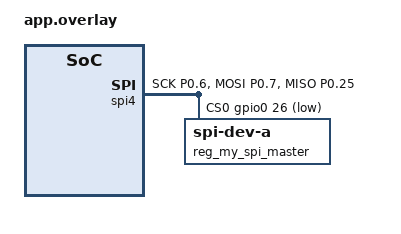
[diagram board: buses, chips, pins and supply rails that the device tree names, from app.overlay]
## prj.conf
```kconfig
#
# Copyright (c) 2018 Nordic Semiconductor
#
# SPDX-License-Identifier: LicenseRef-Nordic-5-Clause
#

# Enable the UART driver
CONFIG_UART_ASYNC_API=y
CONFIG_NRFX_UARTE0=y
CONFIG_SERIAL=y #to modif at n: origin y



# Make sure printk is printing to the UART console
CONFIG_CONSOLE=y
CONFIG_UART_CONSOLE=y

# Enable Power Management
CONFIG_PM=y
CONFIG_GPIO=y

CONFIG_SPI=y
CONFIG_SPI_ASYNC=y


CONFIG_HEAP_MEM_POOL_SIZE=2048

CONFIG_BT=y
CONFIG_BT_PERIPHERAL=y
CONFIG_BT_DEVICE_NAME="Nordic_UART_Service"
CONFIG_BT_DEVICE_APPEARANCE=833
CONFIG_BT_MAX_CONN=1
CONFIG_BT_MAX_PAIRED=1

# Enable the NUS service
CONFIG_BT_NUS=y

# Enable bonding
CONFIG_BT_SETTINGS=y
CONFIG_FLASH=y
CONFIG_FLASH_PAGE_LAYOUT=y
CONFIG_FLASH_MAP=y
CONFIG_NVS=y
CONFIG_SETTINGS=y

# Enable DK LED and Buttons library
CONFIG_DK_LIBRARY=y

# This example requires more workqueue stack
CONFIG_SYSTEM_WORKQUEUE_STACK_SIZE=2048

# Config logger
CONFIG_LOG=y #to modif at n: origin y
CONFIG_USE_SEGGER_RTT=y
CONFIG_LOG_BACKEND_RTT=y
CONFIG_LOG_BACKEND_UART=n
CONFIG_LOG_PRINTK=n

CONFIG_ASSERT=y
```

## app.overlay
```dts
/*
 * Copyright (c) 2022 Nordic Semiconductor ASA
 *
 * SPDX-License-Identifier: LicenseRef-Nordic-5-Clause
 */

/ {
	chosen {
		nordic,nus-uart = &uart0;
	};
};
/*
	can be used but was not working for me!
buttons {
	compatible = "gpio-keys";
	IRQ_DETECT: irq_detect {
		gpios = <&gpio0 5 (GPIO_PULL_DOWN|GPIO_ACTIVE_HIGH)>;
		label = "IRQ DETECT";
	};
};
aliases {
	swn = &IRQ_DETECT;
};
*/
&pinctrl {
	spi_master_default: spi_master_default {
		group1 {
			psels = <NRF_PSEL(SPIM_SCK, 0, 6)>,
					<NRF_PSEL(SPIM_MOSI, 0, 7)>,
					<NRF_PSEL(SPIM_MISO, 0, 25)>;
		};
	};

	spi_master_sleep: spi_master_sleep {
		group1 {
			psels = <NRF_PSEL(SPIM_SCK, 0, 6)>,
					<NRF_PSEL(SPIM_MOSI, 0, 7)>,
					<NRF_PSEL(SPIM_MISO, 0, 25)>;
			low-power-enable;
		};
	};

	spi_slave_default: spi_slave_default {
		group1 {
			psels = <NRF_PSEL(SPIS_SCK, 1, 5)>,
					<NRF_PSEL(SPIS_MOSI, 1, 4)>,
					<NRF_PSEL(SPIS_MISO, 1, 1)>,
					<NRF_PSEL(SPIS_CSN, 1, 0)>;
		};
	};

	spi_slave_sleep: spi_slave_sleep {
		group1 {
			psels = <NRF_PSEL(SPIS_SCK, 1, 5)>,
					<NRF_PSEL(SPIS_MOSI, 1, 4)>,
					<NRF_PSEL(SPIS_MISO, 1, 1)>,
					<NRF_PSEL(SPIS_CSN, 1, 0)>;
			low-power-enable;
		};
	};
};

my_spi_master: &spi4 {
	compatible = "nordic,nrf-spim";
	status = "okay";
	pinctrl-0 = <&spi_master_default>;
	pinctrl-1 = <&spi_master_sleep>;
	pinctrl-names = "default", "sleep";
	cs-gpios = <&gpio0 26 GPIO_ACTIVE_LOW>;
	reg_my_spi_master:  spi-dev-a@0 {
		reg = <0>;
	};
};
```

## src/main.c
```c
/*
 * Copyright (c) 2018 Nordic Semiconductor ASA
 *
 * SPDX-License-Identifier: LicenseRef-Nordic-5-Clause
 */

/** @file
 *  @brief Nordic UART Bridge Service (NUS) sample
 */
#include "uart_async_adapter.h"

#include <zephyr/types.h>
#include <zephyr/kernel.h>
#include <zephyr/drivers/uart.h>
#include <zephyr/usb/usb_device.h>

#include <zephyr/device.h>
#include <zephyr/devicetree.h>
#include <soc.h>

#include <zephyr/bluetooth/bluetooth.h>
#include <zephyr/bluetooth/uuid.h>
#include <zephyr/bluetooth/gatt.h>
#include <zephyr/bluetooth/hci.h>

#include <bluetooth/services/nus.h>
#include <zephyr/drivers/gpio.h>
#include <zephyr/drivers/spi.h>

#include <dk_buttons_and_leds.h>

#include <zephyr/settings/settings.h>
#include <zephyr/pm/pm.h>

#include <stdio.h>

#include <zephyr/logging/log.h>

#define LOG_MODULE_NAME peripheral_uart
LOG_MODULE_REGISTER(LOG_MODULE_NAME);


#define STACKSIZE CONFIG_BT_NUS_THREAD_STACK_SIZE
#define PRIORITY 7

#define DEVICE_NAME CONFIG_BT_DEVICE_NAME
#define DEVICE_NAME_LEN	(sizeof(DEVICE_NAME) - 1)

#define RUN_STATUS_LED DK_LED1
#define RUN_LED_BLINK_INTERVAL 1000

#define CON_STATUS_LED DK_LED2

#define KEY_PASSKEY_ACCEPT DK_BTN1_MSK
#define KEY_PASSKEY_REJECT DK_BTN2_MSK
#define SPI_READ_REQ DK_BTN3_MSK
#define IRQ_LINE_REQ DK_BTN4_MSK
#define DBG_REQ DK_BTN2_MSK
#define CENT_REQ DK_BTN1_MSK


#define UART_BUF_SIZE CONFIG_BT_NUS_UART_BUFFER_SIZE
#define UART_WAIT_FOR_BUF_DELAY K_MSEC(50)
#define UART_WAIT_FOR_RX CONFIG_BT_NUS_UART_RX_WAIT_TIME

static K_SEM_DEFINE(ble_init_ok, 0, 1);


static struct bt_conn *current_conn;
static struct bt_conn *auth_conn;

//static const struct device *uart = DEVICE_DT_GET(DT_CHOSEN(nordic_nus_uart));
static struct k_work_delayable uart_work;

struct uart_data_t {
	void *fifo_reserved;
	uint8_t data[UART_BUF_SIZE];
	uint16_t len;
};

static K_FIFO_DEFINE(fifo_uart_tx_data);
static K_FIFO_DEFINE(fifo_uart_rx_data);

static const struct bt_data ad[] = {
	BT_DATA_BYTES(BT_DATA_FLAGS, (BT_LE_AD_GENERAL | BT_LE_AD_NO_BREDR)),
	BT_DATA(BT_DATA_NAME_COMPLETE, DEVICE_NAME, DEVICE_NAME_LEN),
};

static const struct bt_data sd[] = {
	BT_DATA_BYTES(BT_DATA_UUID128_ALL, BT_UUID_NUS_VAL),
};



// it is not working like this
//static struct gpio_callback button_cb_data;
//static const struct gpio_dt_spec button = GPIO_DT_SPEC_GET_OR(DT_ALIAS(swn), gpios,
//							      {0});

#define MY_SPI_MASTER DT_NODELABEL(my_spi_master)
struct spi_cs_control spim_cs = {
	.gpio = SPI_CS_GPIOS_DT_SPEC_GET(DT_NODELABEL(reg_my_spi_master)),
	.delay = 0,
};

static const struct device * spi_hci_dev; 

int stop_command_from_central = 0;
int get_command_from_central = 0;

/*
 * This is the SPI bus controller device used to exchange data with
 * the SPI-based BT controller.
 */
/* Needs to be aligned with the SPI master buffer size */
#define SPI_MAX_MSG_LEN        256
#define SPI_DATA_TO_GET			21
#define SPI_WAV_DATA        	200

#define DEVICE_ID (0x00)
char gap_device_id = 99;

volatile static uint8_t rxmsg[SPI_MAX_MSG_LEN];
static struct spi_buf rx;
const static struct spi_buf_set rx_bufs = {
	.buffers = &rx,
	.count = 1,
};

volatile static uint8_t txmsg[SPI_MAX_MSG_LEN];
static struct spi_buf tx;
const static struct spi_buf_set tx_bufs = {
	.buffers = &tx,
	.count = 1,
};





static struct spi_config spi_cfg = {
	.operation = SPI_WORD_SET(8) | SPI_OP_MODE_MASTER,
};




#if CONFIG_BT_NUS_UART_ASYNC_ADAPTER
UART_ASYNC_ADAPTER_INST_DEFINE(async_adapter);
#else
static const struct device *const async_adapter;
#endif

static void uart_cb(const struct device *dev, struct uart_event *evt, void *user_data)
{
	ARG_UNUSED(dev);

	static size_t aborted_len;
	struct uart_data_t *buf;
	static uint8_t *aborted_buf;
	static bool disable_req;

	switch (evt->type) {
	case UART_TX_DONE:
		LOG_DBG("UART_TX_DONE");
		if ((evt->data.tx.len == 0) ||
		    (!evt->data.tx.buf)) {
			return;
		}

		if (aborted_buf) {
			buf = CONTAINER_OF(aborted_buf, struct uart_data_t,
					   data);
			aborted_buf = NULL;
			aborted_len = 0;
		} else {
			buf = CONTAINER_OF(evt->data.tx.buf, struct uart_data_t,
					   data);
		}

		k_free(buf);
		LOG_INF("00 k_free uart_data_t");

		buf = k_fifo_get(&fifo_uart_tx_data, K_NO_WAIT);
		if (!buf) {
			return;
		}

//		if (uart_tx(uart, buf->data, buf->len, SYS_FOREVER_MS)) {
//			LOG_WRN("Failed to send data over UART");
//		}

		break;

	case UART_RX_RDY:
		LOG_DBG("UART_RX_RDY");
		buf = CONTAINER_OF(evt->data.rx.buf, struct uart_data_t, data);
		buf->len += evt->data.rx.len;

		if (disable_req) {
			return;
		}

		if ((evt->data.rx.buf[buf->len - 1] == '\n') ||
		    (evt->data.rx.buf[buf->len - 1] == '\r')) {
			disable_req = true;
//			uart_rx_disable(uart);
		}

		break;

	case UART_RX_DISABLED:
		LOG_DBG("UART_RX_DISABLED");
		disable_req = false;

		buf = k_malloc(sizeof(*buf));
		LOG_INF("00 Malloc uart_data_t");

		if (buf) {
			buf->len = 0;
		} else {
			LOG_WRN("Not able to allocate UART receive buffer");
			k_work_reschedule(&uart_work, UART_WAIT_FOR_BUF_DELAY);
			return;
		}

//		uart_rx_enable(uart, buf->data, sizeof(buf->data),
//			       UART_WAIT_FOR_RX);

		break;

	case UART_RX_BUF_REQUEST:
		LOG_DBG("UART_RX_BUF_REQUEST");
		buf = k_malloc(sizeof(*buf));
		LOG_INF("01 Malloc uart_data_t");

		if (buf) {
			buf->len = 0;
//			uart_rx_buf_rsp(uart, buf->data, sizeof(buf->data));
		} else {
			LOG_WRN("Not able to allocate UART receive buffer");
		}

		break;

	case UART_RX_BUF_RELEASED:
		LOG_DBG("UART_RX_BUF_RELEASED");
		buf = CONTAINER_OF(evt->data.rx_buf.buf, struct uart_data_t,
				   data);

		if (buf->len > 0) {
			k_fifo_put(&fifo_uart_rx_data, buf);
		} else {
			k_free(buf);
			LOG_INF("01 k_free uart_data_t");

		}

		break;

	case UART_TX_ABORTED:
		LOG_DBG("UART_TX_ABORTED");
		if (!aborted_buf) {
			aborted_buf = (uint8_t *)evt->data.tx.buf;
		}

		aborted_len += evt->data.tx.len;
		buf = CONTAINER_OF(aborted_buf, struct uart_data_t,
				   data);

//		uart_tx(uart, &buf->data[aborted_len],
//			buf->len - aborted_len, SYS_FOREVER_MS);

		break;

	default:
		break;
	}
}

static void uart_work_handler(struct k_work *item)
{
	struct uart_data_t *buf;

	buf = k_malloc(sizeof(*buf));
	LOG_INF("03 Malloc uart_data_t");

	if (buf) {
		buf->len = 0;
	} else {
		LOG_WRN("Not able to allocate UART receive buffer");
		k_work_reschedule(&uart_work, UART_WAIT_FOR_BUF_DELAY);
		return;
	}

//	uart_rx_enable(uart, buf->data, sizeof(buf->data), UART_WAIT_FOR_RX);
}




static void connected(struct bt_conn *conn, uint8_t err)
{
	char addr[BT_ADDR_LE_STR_LEN];

	if (err) {
		LOG_ERR("Connection failed (err %u)", err);
		return;
	}

	bt_addr_le_to_str(bt_conn_get_dst(conn), addr, sizeof(addr));
	LOG_INF("Connected %s", addr);

	current_conn = bt_conn_ref(conn);

	dk_set_led_on(CON_STATUS_LED);


}

static void disconnected(struct bt_conn *conn, uint8_t reason)
{
	char addr[BT_ADDR_LE_STR_LEN];

	bt_addr_le_to_str(bt_conn_get_dst(conn), addr, sizeof(addr));

	LOG_INF("Disconnected: %s (reason %u)", addr, reason);

	if (auth_conn) {
		bt_conn_unref(auth_conn);
		auth_conn = NULL;
	}

	if (current_conn) {
		bt_conn_unref(current_conn);
		current_conn = NULL;
		dk_set_led_off(CON_STATUS_LED);
	}
}

#ifdef CONFIG_BT_NUS_SECURITY_ENABLED
static void security_changed(struct bt_conn *conn, bt_security_t level,
			     enum bt_security_err err)
{
	char addr[BT_ADDR_LE_STR_LEN];

	bt_addr_le_to_str(bt_conn_get_dst(conn), addr, sizeof(addr));

	if (!err) {
		LOG_INF("Security changed: %s level %u", addr, level);
	} else {
		LOG_WRN("Security failed: %s level %u err %d", addr,
			level, err);
	}
}
#endif

BT_CONN_CB_DEFINE(conn_callbacks) = {
	.connected    = connected,
	.disconnected = disconnected,
#ifdef CONFIG_BT_NUS_SECURITY_ENABLED
	.security_changed = security_changed,
#endif
};

#if defined(CONFIG_BT_NUS_SECURITY_ENABLED)
static void auth_passkey_display(struct bt_conn *conn, unsigned int passkey)
{
	char addr[BT_ADDR_LE_STR_LEN];

	bt_addr_le_to_str(bt_conn_get_dst(conn), addr, sizeof(addr));

	LOG_INF("Passkey for %s: %06u", addr, passkey);
}

static void auth_passkey_confirm(struct bt_conn *conn, unsigned int passkey)
{
	char addr[BT_ADDR_LE_STR_LEN];

	auth_conn = bt_conn_ref(conn);

	bt_addr_le_to_str(bt_conn_get_dst(conn), addr, sizeof(addr));

	LOG_INF("Passkey for %s: %06u", addr, passkey);
	LOG_INF("Press Button 1 to confirm, Button 2 to reject.");
}


static void auth_cancel(struct bt_conn *conn)
{
	char addr[BT_ADDR_LE_STR_LEN];

	bt_addr_le_to_str(bt_conn_get_dst(conn), addr, sizeof(addr));

	LOG_INF("Pairing cancelled: %s", addr);
}


static void pairing_complete(struct bt_conn *conn, bool bonded)
{
	char addr[BT_ADDR_LE_STR_LEN];

	bt_addr_le_to_str(bt_conn_get_dst(conn), addr, sizeof(addr));

	LOG_INF("Pairing completed: %s, bonded: %d", addr, bonded);
}


static void pairing_failed(struct bt_conn *conn, enum bt_security_err reason)
{
	char addr[BT_ADDR_LE_STR_LEN];

	bt_addr_le_to_str(bt_conn_get_dst(conn), addr, sizeof(addr));

	LOG_INF("Pairing failed conn: %s, reason %d", addr, reason);
}


static struct bt_conn_auth_cb conn_auth_callbacks = {
	.passkey_display = auth_passkey_display,
	.passkey_confirm = auth_passkey_confirm,
	.cancel = auth_cancel,
};

static struct bt_conn_auth_info_cb conn_auth_info_callbacks = {
	.pairing_complete = pairing_complete,
	.pairing_failed = pairing_failed
};
#else
static struct bt_conn_auth_cb conn_auth_callbacks;
static struct bt_conn_auth_info_cb conn_auth_info_callbacks;
#endif

static void bt_receive_cb(struct bt_conn *conn, const uint8_t *const data,
			  uint16_t len)
{
	int err = 0;
	char addr[BT_ADDR_LE_STR_LEN] = {0};
	struct uart_data_t *buf;

	bt_addr_le_to_str(bt_conn_get_dst(conn), addr, ARRAY_SIZE(addr));

	LOG_INF("Received data from: %s, len: %d", addr, len);
	for (int i =0;i<len;i++) LOG_INF("%d, ", data[i]);

	for (uint16_t pos = 0; pos != len;) {
		struct uart_data_t *tx = k_malloc(sizeof(*tx));
		LOG_INF("04 Malloc uart_data_t");

		if (!tx) {
			LOG_WRN("Not able to allocate UART send data buffer");
			return;
		}

		/* Keep the last byte of TX buffer for potential LF char. */
		size_t tx_data_size = sizeof(tx->data) - 1;

		if ((len - pos) > tx_data_size) {
			tx->len = tx_data_size;
		} else {
			tx->len = (len - pos);
		}

		memcpy(tx->data, &data[pos], tx->len);

		pos += tx->len;

		/* Append the LF character when the CR character triggered
		 * transmission from the peer.
		 */
//		if ((pos == len) && (data[len - 1] == '\r')) {
//			tx->data[tx->len] = '\n';
//			tx->len++;
//		}

// do not send anything!!!! uart not here
//		err = uart_tx(uart, tx->data, tx->len, SYS_FOREVER_MS);
//		if (err) {
//			k_fifo_put(&fifo_uart_tx_data, tx);
//		}

		// check the command
		if (tx->len == 4){
			if((tx->data[0] == 51) && (tx->data[1] == 51) && (tx->data[2] == 51)){
				LOG_INF("Get data");	// command 333
				get_command_from_central = 1;
			} else
			if((tx->data[0] == 54) && (tx->data[1] == 54) && (tx->data[2] == 54)){
				LOG_INF("Stop command");
				stop_command_from_central = 1;
			} else
			if((tx->data[0] == 57) && (tx->data[1] == 57) && (tx->data[2] == 57)){
				LOG_INF("ID COMMAND");	// command 999
				buf = k_malloc(sizeof(*buf));
				LOG_INF("05 Malloc uart_data_t");

				buf->len = 4;
				buf->data[0] = DEVICE_ID;
				buf->data[1] = gap_device_id;
				buf->data[2] = 3;
				buf->data[3] = 4;

				k_fifo_put(&fifo_uart_rx_data, buf);

			} else { 
				// do something 
			}
		}

//		// send back the command
//		if (bt_nus_send(NULL, tx->data, tx->len)) {
//			LOG_WRN("Failed to send data over BLE connection");
//		}

		k_free(tx);
	}
}


static struct bt_nus_cb nus_cb = {
	.received = bt_receive_cb,
};

void error(void)
{
	dk_set_leds_state(DK_ALL_LEDS_MSK, DK_NO_LEDS_MSK);

	while (true) {
		/* Spin for ever */
		k_sleep(K_MSEC(1000));
	}
}

#ifdef CONFIG_BT_NUS_SECURITY_ENABLED
static void num_comp_reply(bool accept)
{
	if (accept) {
		bt_conn_auth_passkey_confirm(auth_conn);
		LOG_INF("Numeric Match, conn %p", (void *)auth_conn);
	} else {
		bt_conn_auth_cancel(auth_conn);
		LOG_INF("Numeric Reject, conn %p", (void *)auth_conn);
	}

	bt_conn_unref(auth_conn);
	auth_conn = NULL;
}

#endif /* CONFIG_BT_NUS_SECURITY_ENABLED */



void button_changed(uint32_t button_state, uint32_t has_changed)
{
	uint32_t buttons = button_state & has_changed;

#ifdef CONFIG_BT_NUS_SECURITY_ENABLED
	if (auth_conn) {
		if (buttons & KEY_PASSKEY_ACCEPT) {
			num_comp_reply(true);
		}

		if (buttons & KEY_PASSKEY_REJECT) {
			num_comp_reply(false);
		}
	}
#endif /* CONFIG_BT_NUS_SECURITY_ENABLED */
	if(buttons & SPI_READ_REQ){
		LOG_INF("Button pressed: %d", buttons);
		send_data_to_central();
	}
	if(buttons & IRQ_LINE_REQ){
		LOG_INF("IRQ line from GAP!");
		get_data_gap();
	}
	if(buttons & DBG_REQ){
		LOG_INF("Stop Command!");
		stop_command_from_central = 1;

	}
	if(buttons & CENT_REQ){
		LOG_INF("Request Data!");
		get_command_from_central = 1;
	}
	
	LOG_INF("button: %d", buttons);

}




void get_data_gap(){

	int ack_from_gap = 0;
	
	for (int i =0; i<SPI_DATA_TO_GET;i++){
		txmsg[i] = (unsigned char) i;
		rxmsg[i] = 0;
	}

	if (stop_command_from_central){
		txmsg[1] = 0x6;
		txmsg[2] = 0x6;
		txmsg[3] = 0x6;
	} else if (get_command_from_central){
		txmsg[1] = 0x3;
		txmsg[2] = 0x3;
		txmsg[3] = 0x3;
	}


	tx.buf = txmsg;
	tx.len = SPI_DATA_TO_GET;
	rx.buf = rxmsg;
	rx.len = SPI_DATA_TO_GET;
	int ret = spi_transceive(spi_hci_dev, &spi_cfg, &tx_bufs, &rx_bufs);
	if (ret < 0) {
		LOG_ERR("SPI transceive error: %d", ret);
	}


	LOG_INF("Received data: %d %d %d %d %d %d %d %d %d %d %d %d %d %d %d %d %d %d %d %d %d", 
			rxmsg[0], rxmsg[1], rxmsg[2], rxmsg[3], rxmsg[4], 
			rxmsg[5], rxmsg[6], rxmsg[7], rxmsg[8], rxmsg[9], 
			rxmsg[10], rxmsg[11], rxmsg[12], rxmsg[13], rxmsg[14], 
			rxmsg[15], rxmsg[16], rxmsg[17], rxmsg[18], rxmsg[19], rxmsg[20]);

	if ((rxmsg[1] == 0x05) && (rxmsg[2] == 0x06) && (rxmsg[3] == 0x07) && (rxmsg[4] == 0x08) && 
		(rxmsg[5] == 0x05) && (rxmsg[6] == 0x06) && (rxmsg[7] == 0x07)){
			gap_device_id = rxmsg[8];
			ack_from_gap = 1;
	}


	if (ack_from_gap == 0){
		// clear only if not an ack exchange
		if (stop_command_from_central){
			stop_command_from_central = 0;
		} else if (get_command_from_central){
			get_command_from_central = 0;
		}
	}


}

void send_data_to_central(){

	for (int i =0; i<SPI_DATA_TO_GET;i++){
			txmsg[i] = (unsigned char) i;
		}
		tx.buf = txmsg;
		tx.len = SPI_DATA_TO_GET;
		rx.buf = rxmsg;
		rx.len = SPI_DATA_TO_GET;
		int ret = spi_transceive(spi_hci_dev, &spi_cfg, &tx_bufs, &rx_bufs);
		if (ret < 0) {
			LOG_ERR("SPI transceive error: %d", ret);
		} else if (bt_nus_send(NULL, rx.buf, rx.len)) 
			LOG_WRN("Failed to send data over BLE connection");
}







void main(void)
{
	int blink_status = 0;
	int err = 0;
	uint32_t button_state = 0;
	uint32_t has_changed = 0;

	err = dk_buttons_init(button_changed);
	if (err) {
		LOG_ERR("Cannot init buttons (err: %d)", err);
	}

	err = dk_leds_init();
	if (err) {
		LOG_ERR("Cannot init LEDs (err: %d)", err);
	}

	spi_hci_dev = DEVICE_DT_GET(MY_SPI_MASTER);
	if (!device_is_ready(spi_hci_dev)) {
		LOG_ERR("SPI bus %s is not ready", spi_hci_dev->name);
		return -EINVAL;
	}
	// SPI config settings
	spi_cfg.frequency = 10000000;
	spi_cfg.slave = 0;
	spi_cfg.cs = &spim_cs;


	/*
// I wasn't able to make it work like this -> I used the IRQ of buttom4
// FW reset inside the IRQ when SPI_send 					      
	gpio_pin_configure_dt(&button, GPIO_INPUT );

	gpio_pin_interrupt_configure_dt(&button, GPIO_INT_EDGE_RISING);
							
	gpio_init_callback(&button_cb_data, BUTTON_PinInHandler, BIT(button.pin));

	gpio_add_callback(button.port, &button_cb_data);

	gpio_pin_get_dt(&button);
	
*/

	if (IS_ENABLED(CONFIG_BT_NUS_SECURITY_ENABLED)) {
		err = bt_conn_auth_cb_register(&conn_auth_callbacks);
		if (err) {
			printk("Failed to register authorization callbacks.\n");
			return;
		}

		err = bt_conn_auth_info_cb_register(&conn_auth_info_callbacks);
		if (err) {
			printk("Failed to register authorization info callbacks.\n");
			return;
		}
	}

	/* Prevent deep sleep (system off) from being entered */
//    pm_constraint_set(PM_STATE_SOFT_OFF);

	err = bt_enable(NULL);
	if (err) {
		error();
	}

	LOG_INF("Bluetooth initialized");

	k_sem_give(&ble_init_ok);

	if (IS_ENABLED(CONFIG_SETTINGS)) {
		settings_load();
	}

	err = bt_nus_init(&nus_cb);
	if (err) {
		LOG_ERR("Failed to initialize UART service (err: %d)", err);
		return;
	}

	err = bt_le_adv_start(BT_LE_ADV_CONN, ad, ARRAY_SIZE(ad), sd,
			      ARRAY_SIZE(sd));
	if (err) {
		LOG_ERR("Advertising failed to start (err %d)", err);
		return;
	}
//	rc=pm_device_state_set(cons, PM_DEVICE_STATE_LOW_POWER,NULL,NULL); 

//	rc=pm_state_set(cons, PM_DEVICE_STATE_LOW_POWER,NULL,NULL); 
//	k_sleep(K_MSEC(WAITTIME));
//	k_sleep(K_MSEC(WAITTIME));  //Added 2 waititmes because advertising is set to 2 sec and want to capture it advertising in PPK-2
	

//	for (;;) {
//		dk_set_led(RUN_STATUS_LED, (++blink_status) % 2);
//		k_sleep(K_MSEC(RUN_LED_BLINK_INTERVAL));
//	}
	dk_read_buttons(&button_state, &has_changed);
	button_changed(button_state, has_changed);

//	pm_state_force(0, &((struct pm_state_info){PM_STATE_STANDBY, 0, 0, 0}));



}




void ble_write_thread(void)
{
	/* Don't go any further until BLE is initialized */
	k_sem_take(&ble_init_ok, K_FOREVER);

	for (;;) {
		// Wait indefinitely for data to be sent over bluetooth 
		struct uart_data_t *buf = k_fifo_get(&fifo_uart_rx_data,
						     K_FOREVER);

		if (bt_nus_send(NULL, buf->data, buf->len)) {
			LOG_WRN("Failed to send data over BLE connection");
		}

		k_free(buf);
		LOG_INF("02 k_free uart_data_t");

	}
}

K_THREAD_DEFINE(ble_write_thread_id, STACKSIZE, ble_write_thread, NULL, NULL,
		NULL, PRIORITY, 0, 0);
```
